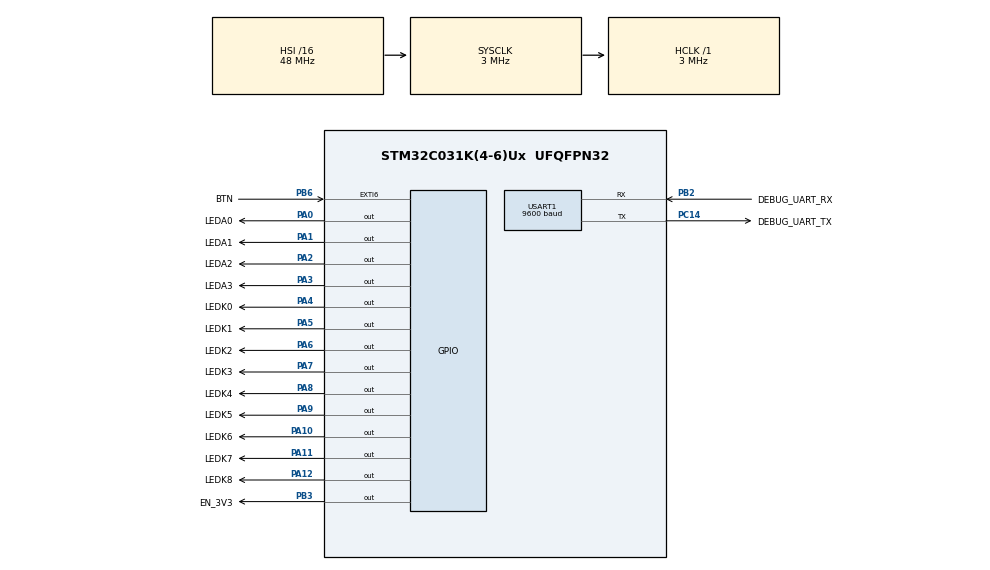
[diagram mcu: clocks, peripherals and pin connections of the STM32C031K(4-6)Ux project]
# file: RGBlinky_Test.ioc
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Mcu.Family=STM32C0
Mcu.Name=STM32C031K(4-6)Ux
Mcu.Package=UFQFPN32
NVIC.EXTI4_15_IRQn=true\:0\:0\:false\:false\:true\:true\:true\:true
PA0.GPIO_Label=LEDA0
PA0.PinState=GPIO_PIN_SET
PA0.Signal=GPIO_Output
PA1.GPIO_Label=LEDA1
PA1.PinState=GPIO_PIN_SET
PA1.Signal=GPIO_Output
PA10.GPIO_Label=LEDK6
PA10.PinState=GPIO_PIN_SET
PA10.Signal=GPIO_Output
PA11\ [PA9].GPIO_Label=LEDK7
PA11\ [PA9].PinState=GPIO_PIN_SET
PA11\ [PA9].Signal=GPIO_Output
PA12\ [PA10].GPIO_Label=LEDK8
PA12\ [PA10].PinState=GPIO_PIN_SET
PA12\ [PA10].Signal=GPIO_Output
PA13.Mode=Serial_Wire
PA13.Signal=DEBUG_SWDIO
PA14-BOOT0.Mode=Serial_Wire
PA14-BOOT0.Signal=DEBUG_SWCLK
PA2.GPIO_Label=LEDA2
PA2.PinState=GPIO_PIN_SET
PA2.Signal=GPIO_Output
PA3.GPIO_Label=LEDA3
PA3.PinState=GPIO_PIN_SET
PA3.Signal=GPIO_Output
PA4.GPIO_Label=LEDK0
PA4.PinState=GPIO_PIN_SET
PA4.Signal=GPIO_Output
PA5.GPIO_Label=LEDK1
PA5.PinState=GPIO_PIN_SET
PA5.Signal=GPIO_Output
PA6.GPIO_Label=LEDK2
PA6.PinState=GPIO_PIN_SET
PA6.Signal=GPIO_Output
PA7.GPIO_Label=LEDK3
PA7.PinState=GPIO_PIN_SET
PA7.Signal=GPIO_Output
PA8.GPIO_Label=LEDK4
PA8.PinState=GPIO_PIN_SET
PA8.Signal=GPIO_Output
PA9.GPIO_Label=LEDK5
PA9.PinState=GPIO_PIN_SET
PA9.Signal=GPIO_Output
PB2.GPIO_Label=DEBUG_UART_RX
PB2.Mode=Asynchronous
PB2.Signal=USART1_RX
PB3.GPIO_Label=EN_3V3
PB3.Signal=GPIO_Output
PB6.GPIO_Label=BTN
PB6.Signal=GPXTI6
PC14-OSCX_IN\ (PC14).GPIO_Label=DEBUG_UART_TX
PC14-OSCX_IN\ (PC14).Mode=Asynchronous
PC14-OSCX_IN\ (PC14).Signal=USART1_TX
ProjectManager.HeapSize=0x200
ProjectManager.StackSize=0x400
ProjectManager.TargetToolchain=STM32CubeIDE
RCC.ADCFreq_Value=3000000
RCC.AHBFreq_Value=3000000
RCC.CortexFreq_Value=3000000
RCC.EXTERNAL_CLOCK_VALUE=12288000
RCC.HCLKFreq_Value=3000000
RCC.HSE_VALUE=8000000
RCC.HSISYSCLKDivider=RCC_HSI_DIV16
RCC.HSI_VALUE=48000000
RCC.LSE_VALUE=32768
RCC.SYSCLKFreq_VALUE=3000000
USART1.BaudRate=9600
USART1.VirtualMode-Asynchronous=VM_ASYNC
board=custom

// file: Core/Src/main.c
/* USER CODE BEGIN Header */
/**
  ******************************************************************************
  * @file           : main.c
  * @brief          : Main program body
  ******************************************************************************
  * @attention
  *
  * Copyright (c) 2025 STMicroelectronics.
  * All rights reserved.
  *
  * This software is licensed under terms that can be found in the LICENSE file
  * in the root directory of this software component.
  * If no LICENSE file comes with this software, it is provided AS-IS.
  *
  ******************************************************************************
  */
/* USER CODE END Header */
#include "main.h"
#include "usart.h"
#include "gpio.h"

/* USER CODE BEGIN PD */
#define HW_V1_0
#define HW_VERSION "hw-v1.0"
#define SW_VERSION "sw-v1.1"

#define COLOR_MAGENTA "\x1b[1;35m"
#define COLOR_CYAN "\x1b[1;36m"

/* USER CODE END PD */

/* USER CODE BEGIN PM */

// Redirect printf to UART
int _write(int file, char *ptr, int len) {
	HAL_UART_Transmit(&huart1, (const uint8_t*) ptr, (uint16_t) len, HAL_MAX_DELAY);
	return HAL_OK;
}

void LedTest(uint32_t colorRaw, uint32_t ms) {
	uint32_t reg; // Temporary buffer to calculate output
	uint32_t tickStart = HAL_GetTick();

	while(HAL_GetTick() - tickStart < ms) { // Display LEDs for ms time
		for(uint32_t i = 0; i < 4; i++) {
			reg = 0x1FFF;				// Set all 13 bits high (anodes/cathodes OFF)
			reg &= ~(1 << i);           // Set selected anode HIGH (set P-MOSFET gate LOW)
			reg &= ~colorRaw;           // Set selected cathode LOW (sink current)
			GPIOA->ODR = (GPIOA->ODR & ~0x1FFF) | (reg & 0x1FFF);  // Write back only PA0–PA12
			HAL_Delay(1); // Minimum LED ON time
		}
	}
}

/* USER CODE END PM */

void SystemClock_Config(void);

int main(void)
{

  /* MCU Configuration--------------------------------------------------------*/

  /* Reset of all peripherals, Initializes the Flash interface and the Systick. */
  HAL_Init();

  /* Configure the system clock */
  SystemClock_Config();

  /* Initialize all configured peripherals */
  MX_GPIO_Init();
  MX_USART1_UART_Init();
  /* USER CODE BEGIN 2 */

  // Build Print Build Time
  printf(COLOR_MAGENTA "Build time: " __DATE__ " " __TIME__ "\r\n");
  printf(COLOR_MAGENTA "Hardware version: " HW_VERSION "\r\n");
  printf(COLOR_MAGENTA "Software version: " SW_VERSION "\r\n");

  // Turn on 3.3V (LED power)
  HAL_GPIO_WritePin(EN_3V3_GPIO_Port, EN_3V3_Pin, 1);

  /* USER CODE END 2 */

  /* Infinite loop */
  /* USER CODE BEGIN WHILE */
  while (1)
  {

	  LedTest(0x1240, 2000); // Red
	  LedTest(0x0920, 2000); // Green
	  LedTest(0x0490, 2000); // Blue

	  LedTest(0x1FF0, 2000); // White
	  LedTest(0x0000, 2000); // Black

    /* USER CODE END WHILE */

  }
}

void SystemClock_Config(void)
{
  RCC_OscInitTypeDef RCC_OscInitStruct = {0};
  RCC_ClkInitTypeDef RCC_ClkInitStruct = {0};

  __HAL_FLASH_SET_LATENCY(FLASH_LATENCY_0);

  /** Initializes the RCC Oscillators according to the specified parameters
  * in the RCC_OscInitTypeDef structure.
  */
  RCC_OscInitStruct.OscillatorType = RCC_OSCILLATORTYPE_HSI;
  RCC_OscInitStruct.HSIState = RCC_HSI_ON;
  RCC_OscInitStruct.HSIDiv = RCC_HSI_DIV16;
  RCC_OscInitStruct.HSICalibrationValue = RCC_HSICALIBRATION_DEFAULT;
  if (HAL_RCC_OscConfig(&RCC_OscInitStruct) != HAL_OK)
  {
    Error_Handler();
  }

  /** Initializes the CPU, AHB and APB buses clocks
  */
  RCC_ClkInitStruct.ClockType = RCC_CLOCKTYPE_HCLK|RCC_CLOCKTYPE_SYSCLK
                              |RCC_CLOCKTYPE_PCLK1;
  RCC_ClkInitStruct.SYSCLKSource = RCC_SYSCLKSOURCE_HSI;
  RCC_ClkInitStruct.SYSCLKDivider = RCC_SYSCLK_DIV1;
  RCC_ClkInitStruct.AHBCLKDivider = RCC_HCLK_DIV1;
  RCC_ClkInitStruct.APB1CLKDivider = RCC_APB1_DIV1;

  if (HAL_RCC_ClockConfig(&RCC_ClkInitStruct, FLASH_LATENCY_0) != HAL_OK)
  {
    Error_Handler();
  }
}

/* USER CODE BEGIN 4 */
void HAL_GPIO_EXTI_Rising_Callback(uint16_t GPIO_Pin) {
	if(GPIO_Pin == BTN_Pin) {
		printf(COLOR_CYAN "Button pressed\r\n");
	}
}
/* USER CODE END 4 */

void Error_Handler(void)
{
  __disable_irq();
  while (1)
  {
  }
}
